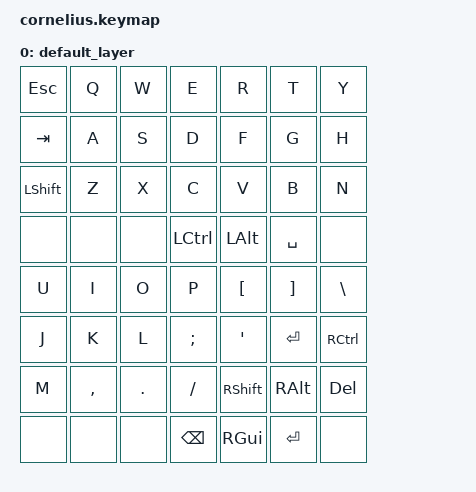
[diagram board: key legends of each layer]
#include <behaviors.dtsi>
#include <dt-bindings/zmk/keys.h>

/ {
    keymap {
        compatible = "zmk,keymap";

        default_layer {
            bindings = <
// LEFT SIDE
// Outer  Pinkie  Ring   Middle  Index   Inner   Aux
&kp ESC  &kp Q   &kp W   &kp E   &kp R   &kp T   &kp Y      
&kp TAB  &kp A   &kp S   &kp D   &kp F   &kp G   &kp H      
&kp LSHFT &kp Z  &kp X   &kp C   &kp V   &kp B   &kp N      
&none    &none   &none   &kp LCTRL &kp LALT &kp SPACE &none 

// RIGHT SIDE (Mirroring the same 7x4 grid)
&kp U    &kp I   &kp O   &kp P   &kp LBKT &kp RBKT &kp BSLH
&kp J    &kp K   &kp L   &kp SEMI &kp SQT &kp ENTER &kp RCTRL
&kp M    &kp COMMA &kp DOT &kp FSLH &kp RSHFT &kp RALT &kp DEL
&none    &none   &none   &kp BSPC &kp RGUI &kp ENTER &none
            >;
        };
    };
};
